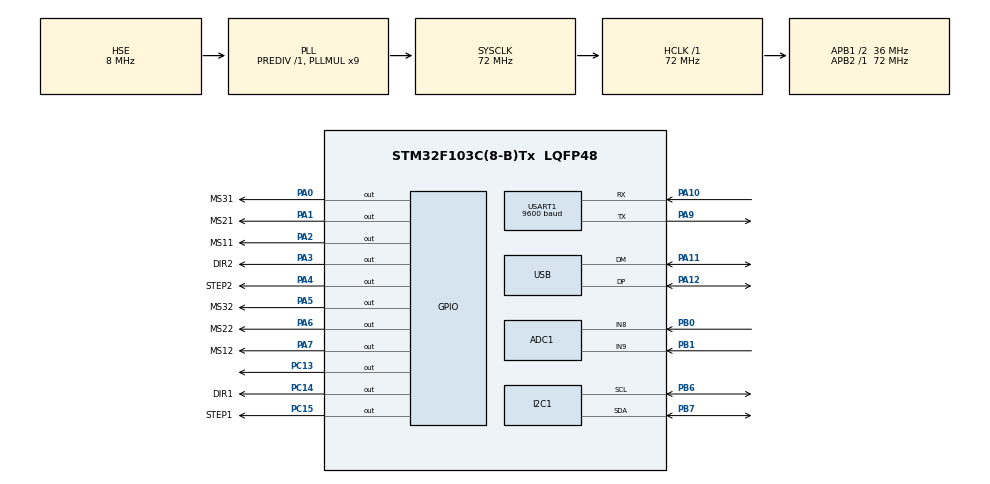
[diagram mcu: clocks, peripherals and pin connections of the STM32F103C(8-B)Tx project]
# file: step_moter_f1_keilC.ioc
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ADC1.Channel-3\#ChannelRegularConversion=ADC_CHANNEL_9
ADC1.Channel-4\#ChannelRegularConversion=ADC_CHANNEL_8
ADC1.ContinuousConvMode=ENABLE
ADC1.NbrOfConversion=2
ADC1.NbrOfConversionFlag=1
ADC1.Rank-3\#ChannelRegularConversion=1
ADC1.Rank-4\#ChannelRegularConversion=2
ADC1.SamplingTime-3\#ChannelRegularConversion=ADC_SAMPLETIME_239CYCLES_5
ADC1.SamplingTime-4\#ChannelRegularConversion=ADC_SAMPLETIME_239CYCLES_5
ADC1.master=1
Dma.ADC1.0.Direction=DMA_PERIPH_TO_MEMORY
Dma.ADC1.0.Instance=DMA1_Channel1
Dma.ADC1.0.MemDataAlignment=DMA_MDATAALIGN_WORD
Dma.ADC1.0.MemInc=DMA_MINC_ENABLE
Dma.ADC1.0.Mode=DMA_CIRCULAR
Dma.ADC1.0.PeriphDataAlignment=DMA_PDATAALIGN_WORD
Dma.ADC1.0.PeriphInc=DMA_PINC_DISABLE
Dma.ADC1.0.Priority=DMA_PRIORITY_MEDIUM
Dma.Request0=ADC1
I2C1.I2C_Mode=I2C_Fast
Mcu.Family=STM32F1
Mcu.Name=STM32F103C(8-B)Tx
Mcu.Package=LQFP48
NVIC.DMA1_Channel1_IRQn=true\:0\:0\:false\:false\:true\:false\:true
NVIC.PriorityGroup=NVIC_PRIORITYGROUP_4
NVIC.TIM1_UP_IRQn=true\:0\:0\:false\:false\:true\:true\:true
NVIC.USART1_IRQn=true\:0\:0\:false\:false\:true\:true\:true
NVIC.USB_LP_CAN1_RX0_IRQn=true\:0\:0\:false\:false\:true\:false\:true
PA0-WKUP.GPIO_Label=MS31
PA0-WKUP.Signal=GPIO_Output
PA1.GPIO_Label=MS21
PA1.Signal=GPIO_Output
PA10.Mode=Asynchronous
PA10.Signal=USART1_RX
PA11.Mode=Device
PA11.Signal=USB_DM
PA12.Mode=Device
PA12.Signal=USB_DP
PA13.Mode=Serial_Wire
PA13.Signal=SYS_JTMS-SWDIO
PA14.Mode=Serial_Wire
PA14.Signal=SYS_JTCK-SWCLK
PA2.GPIO_Label=MS11
PA2.Signal=GPIO_Output
PA3.GPIO_Label=DIR2
PA3.Signal=GPIO_Output
PA4.GPIO_Label=STEP2
PA4.Signal=GPIO_Output
PA5.GPIO_Label=MS32
PA5.Signal=GPIO_Output
PA6.GPIO_Label=MS22
PA6.Signal=GPIO_Output
PA7.GPIO_Label=MS12
PA7.Signal=GPIO_Output
PA9.Mode=Asynchronous
PA9.Signal=USART1_TX
PB0.Signal=ADCx_IN8
PB1.Signal=ADCx_IN9
PB6.Mode=I2C
PB6.Signal=I2C1_SCL
PB7.Mode=I2C
PB7.Signal=I2C1_SDA
PC13-TAMPER-RTC.Signal=GPIO_Output
PC14-OSC32_IN.GPIO_Label=DIR1
PC14-OSC32_IN.Signal=GPIO_Output
PC15-OSC32_OUT.GPIO_Label=STEP1
PC15-OSC32_OUT.Signal=GPIO_Output
PD0-OSC_IN.Mode=HSE-External-Oscillator
PD0-OSC_IN.Signal=RCC_OSC_IN
PD1-OSC_OUT.Mode=HSE-External-Oscillator
PD1-OSC_OUT.Signal=RCC_OSC_OUT
ProjectManager.HeapSize=0x200
ProjectManager.StackSize=0x400
ProjectManager.TargetToolchain=MDK-ARM V5.27
RCC.ADCPresc=RCC_ADCPCLK2_DIV6
RCC.AHBFreq_Value=72000000
RCC.APB1CLKDivider=RCC_HCLK_DIV2
RCC.APB1Freq_Value=36000000
RCC.APB1TimFreq_Value=72000000
RCC.APB2Freq_Value=72000000
RCC.APB2TimFreq_Value=72000000
RCC.HCLKFreq_Value=72000000
RCC.PLLMUL=RCC_PLL_MUL9
RCC.PLLSourceVirtual=RCC_PLLSOURCE_HSE
RCC.SYSCLKFreq_VALUE=72000000
RCC.SYSCLKSource=RCC_SYSCLKSOURCE_PLLCLK
RCC.USBFreq_Value=48000000
RCC.USBPrescaler=RCC_USBCLKSOURCE_PLL_DIV1_5
SH.ADCx_IN8.0=ADC1_IN8,IN8
SH.ADCx_IN9.0=ADC1_IN9,IN9
TIM1.Period=71
TIM1.Prescaler=19
USART1.BaudRate=9600
USART1.VirtualMode=VM_ASYNC
USB_DEVICE.CLASS_NAME_FS=CDC
USB_DEVICE.VirtualMode=Cdc
USB_DEVICE.VirtualModeFS=Cdc_FS
VP_TIM1_VS_ClockSourceINT.Mode=Internal
VP_USB_DEVICE_VS_USB_DEVICE_CDC_FS.Mode=CDC_FS
board=custom

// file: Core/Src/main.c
/* USER CODE BEGIN Header */
/**
  ******************************************************************************
  * @file           : main.c
  * @brief          : Main program body
  ******************************************************************************
  * @attention
  *
  * <h2><center>&copy; Copyright (c) 2021 STMicroelectronics.
  * All rights reserved.</center></h2>
  *
  * This software component is licensed by ST under Ultimate Liberty license
  * SLA0044, the "License"; You may not use this file except in compliance with
  * the License. You may obtain a copy of the License at:
  *                             www.st.com/SLA0044
  *
  ******************************************************************************
  */
/* USER CODE END Header */
#include "main.h"
#include "usb_device.h"

/* USER CODE BEGIN Includes */
#include <stdio.h>
#include "mpu6050.h"
#include "usbd_cdc_if.h"
#include "PID.h"
/* USER CODE END Includes */

/* USER CODE BEGIN PD */
//#define timeLoop 27
#define maxTargetSpeed 200
#define turningSpeed 50
#define setPoint -1
/* USER CODE END PD */

ADC_HandleTypeDef hadc1;
DMA_HandleTypeDef hdma_adc1;

I2C_HandleTypeDef hi2c1;

TIM_HandleTypeDef htim1;

UART_HandleTypeDef huart1;

/* USER CODE BEGIN PV */
MPU6050_t MPU6050;
uint8_t rxData;
uint8_t timeLoop=23;
char buf[40];
volatile float isetPoint=-1;
float iAngle,self_balance_Angle=0;
extern float pidOut;
volatile float pidLeft,pidRight;
uint32_t value[2];
float timeDelayLeft,timeDelayMemoryLeft;
float timeDelayRight,timeDelayMemoryRight;
uint16_t timeDelayCounterLeft,timeDelayCounterRight;
PidParameter PID={1,7.5,200.0,0.125};
uint32_t loop_time;
float voltage;
extern uint32_t timer;
/* USER CODE END PV */

void SystemClock_Config(void);
static void MX_GPIO_Init(void);
static void MX_DMA_Init(void);
static void MX_I2C1_Init(void);
static void MX_USART1_UART_Init(void);
static void MX_TIM1_Init(void);
static void MX_ADC1_Init(void);

/* USER CODE BEGIN 0 */
void HAL_TIM_PeriodElapsedCallback(TIM_HandleTypeDef * htim)
{
	if (htim -> Instance == htim1.Instance)
	{
		//Left motor
    timeDelayCounterLeft++;
    if (timeDelayCounterLeft > timeDelayMemoryLeft)
		{
      timeDelayCounterLeft = 0;
      timeDelayMemoryLeft = timeDelayLeft;
      if (timeDelayMemoryLeft < 0)
			{
        HAL_GPIO_WritePin(DIR2_GPIO_Port, DIR2_Pin, GPIO_PIN_SET);
        timeDelayMemoryLeft *= -1;
      }
			else
			{
        HAL_GPIO_WritePin(DIR2_GPIO_Port, DIR2_Pin, GPIO_PIN_RESET);
      }
    }
		else if (timeDelayCounterLeft == 1)
		{
      HAL_GPIO_WritePin(STEP2_GPIO_Port, STEP2_Pin, GPIO_PIN_SET);
    }
		else if (timeDelayCounterLeft == 2)
		{
      HAL_GPIO_WritePin(STEP2_GPIO_Port, STEP2_Pin, GPIO_PIN_RESET);
    }
		//Right motor
		timeDelayCounterRight++;
    if (timeDelayCounterRight > timeDelayMemoryRight)
		{
      timeDelayCounterRight = 0;
      timeDelayMemoryRight = timeDelayRight;
      if (timeDelayMemoryRight < 0)
			{
        HAL_GPIO_WritePin(DIR1_GPIO_Port, DIR1_Pin, GPIO_PIN_RESET);
        timeDelayMemoryRight *= -1;
      }
			else
			{
        HAL_GPIO_WritePin(DIR1_GPIO_Port, DIR1_Pin, GPIO_PIN_SET);
      }
    }
		else if (timeDelayCounterRight == 1)
		{
      HAL_GPIO_WritePin(STEP1_GPIO_Port, STEP1_Pin, GPIO_PIN_SET);
    }
		else if (timeDelayCounterRight == 2)
		{
      HAL_GPIO_WritePin(STEP1_GPIO_Port, STEP1_Pin, GPIO_PIN_RESET);
    }
  }
}
float mapfloat(float x, float in_min, float in_max, float out_min, float out_max)
{
  return (x - in_min) * (out_max - out_min) / (in_max - in_min) + out_min;
}
void HAL_UART_RxCpltCallback(UART_HandleTypeDef *huart)
{
	if(huart->Instance==huart1.Instance)
	{
		switch(rxData)
		{
			case 'L':
				pidLeft+=turningSpeed;
			  pidRight-=turningSpeed;
				break;
			case 'R':
				pidLeft-=turningSpeed;
			  pidRight+=turningSpeed;
				break;
			case 'F':
				if(isetPoint>-2.5-setPoint) isetPoint-=0.5;
			  if(pidOut>-maxTargetSpeed) isetPoint-=0.05;
				break;
			case 'B':
				if(isetPoint<2.5+setPoint) isetPoint+=0.5;
			  if(pidOut<maxTargetSpeed) isetPoint+=0.05;
				break;
			case '0':
				if(isetPoint > 1+setPoint)isetPoint -=0.2;
			  else if(isetPoint < -1-setPoint)isetPoint +=0.2;
				else isetPoint = setPoint;
				break;
		}
	}
}
/* USER CODE END 0 */

int main(void)
{

  /* MCU Configuration--------------------------------------------------------*/

  /* Reset of all peripherals, Initializes the Flash interface and the Systick. */
  HAL_Init();

  /* Configure the system clock */
  SystemClock_Config();

  /* Initialize all configured peripherals */
  MX_GPIO_Init();
  MX_DMA_Init();
  MX_I2C1_Init();
  MX_USART1_UART_Init();
  MX_TIM1_Init();
  MX_USB_DEVICE_Init();
  MX_ADC1_Init();
  /* USER CODE BEGIN 2 */
  HAL_ADC_Start_DMA(&hadc1, value, 2);
	//HAL_UART_Receive_IT(&huart1,&rxData,1);
	voltage=mapfloat(value[1],0,4095,0,21.29);
		while(voltage<6.5)
		{
			timeDelayLeft=0;
			timeDelayRight=0;
			sprintf (buf, "%f\n", voltage);
			voltage=mapfloat(value[1],0,4095,0,21.29);
			HAL_GPIO_TogglePin(GPIOC,GPIO_PIN_13);
	    HAL_UART_Transmit(&huart1,(uint8_t*)buf,strlen((const char*) buf),100);
		}
  HAL_TIM_Base_Start_IT(&htim1);
	for(int i=0;i<2;i++)
	{
		HAL_GPIO_TogglePin(GPIOC,GPIO_PIN_13);
		HAL_Delay(250);
	}
	while(MPU6050_Init(&hi2c1)==1){};
  for(int i=0;i<100;i++){MPU6050_CommentaryFilter(&hi2c1,&MPU6050);}
  if(MPU6050.CompAngleX>0.01 ||MPU6050.CompAngleX<-0.01) HAL_GPIO_WritePin(GPIOC, GPIO_PIN_13, GPIO_PIN_SET);
	//set MS motor
	HAL_GPIO_WritePin(MS21_GPIO_Port,MS21_Pin,GPIO_PIN_SET);
	HAL_GPIO_WritePin(MS21_GPIO_Port,MS22_Pin,GPIO_PIN_SET);
	loop_time=HAL_GetTick()+timeLoop;
  /* USER CODE END 2 */

  /* Infinite loop */
  while (1)
  {

    /* USER CODE BEGIN 3 */
		voltage=mapfloat(value[1],0,4095,0,21.29);
		if(voltage<10)
		{
			timeDelayLeft=0;
			timeDelayRight=0;
			HAL_GPIO_TogglePin(GPIOC,GPIO_PIN_13);
		  sprintf (buf, "%f\n", voltage);
   	  HAL_UART_Transmit(&huart1,(uint8_t*)buf,strlen((const char*) buf),100);
			break;
		}
		MPU6050_CommentaryFilter(&hi2c1, &MPU6050);
		//timeLoop=(uint8_t)mapfloat(value[0],0,4095,0,40);
		//PID.Kp=mapfloat(value[0],0,4095,0.0,25);
    //PID.Ki=mapfloat(value[0],0,4095,0.0,200);
		//PID.Kd=mapfloat(value[0],0,4095,0.0,0.3);
		PidCaculate(PID, (float)MPU6050.CompAngleX, isetPoint+self_balance_Angle);
		pidLeft=pidOut;
		pidRight=pidOut;
		HAL_UART_Receive_IT(&huart1,&rxData,1);
		if(isetPoint==setPoint)
		{
			if(pidOut<0) self_balance_Angle+=0.0015;
			else if(pidOut>0) self_balance_Angle -=0.0015;
		}
		//Left
		if(pidLeft > 0)pidLeft = 405 - (1/(pidLeft + 9)) * 5500;
		else if(pidLeft < 0)pidLeft = -405 - (1/(pidLeft - 9)) * 5500;
		if(pidLeft > 0)pidLeft = 400 - pidLeft;
		else if(pidLeft < 0)pidLeft = -400 - pidLeft;
		else pidLeft = 0;
		//Right
		if(pidRight > 0)pidRight = 405 - (1/(pidRight + 9)) * 5500;
		else if(pidRight < 0)pidRight = -405 - (1/(pidRight - 9)) * 5500;
		if(pidRight > 0)pidRight = 400 - pidRight;
		else if(pidRight < 0)pidRight = -400 - pidRight;
		else pidRight = 0;
		timeDelayLeft=pidLeft;
		timeDelayRight=pidRight;
		sprintf (buf, "%.3f,%.3f\n",voltage,MPU6050.CompAngleX);
	  HAL_UART_Transmit(&huart1,(uint8_t*)buf,strlen((const char*) buf),100);
		//CDC_Transmit_FS((uint8_t*)buf, strlen((const char*)buf));
		while(loop_time>HAL_GetTick());
		loop_time+=timeLoop;
  }
  /* USER CODE END 3 */
}

void SystemClock_Config(void)
{
  RCC_OscInitTypeDef RCC_OscInitStruct = {0};
  RCC_ClkInitTypeDef RCC_ClkInitStruct = {0};
  RCC_PeriphCLKInitTypeDef PeriphClkInit = {0};

  /** Initializes the RCC Oscillators according to the specified parameters
  * in the RCC_OscInitTypeDef structure.
  */
  RCC_OscInitStruct.OscillatorType = RCC_OSCILLATORTYPE_HSE;
  RCC_OscInitStruct.HSEState = RCC_HSE_ON;
  RCC_OscInitStruct.HSEPredivValue = RCC_HSE_PREDIV_DIV1;
  RCC_OscInitStruct.HSIState = RCC_HSI_ON;
  RCC_OscInitStruct.PLL.PLLState = RCC_PLL_ON;
  RCC_OscInitStruct.PLL.PLLSource = RCC_PLLSOURCE_HSE;
  RCC_OscInitStruct.PLL.PLLMUL = RCC_PLL_MUL9;
  if (HAL_RCC_OscConfig(&RCC_OscInitStruct) != HAL_OK)
  {
    Error_Handler();
  }
  /** Initializes the CPU, AHB and APB buses clocks
  */
  RCC_ClkInitStruct.ClockType = RCC_CLOCKTYPE_HCLK|RCC_CLOCKTYPE_SYSCLK
                              |RCC_CLOCKTYPE_PCLK1|RCC_CLOCKTYPE_PCLK2;
  RCC_ClkInitStruct.SYSCLKSource = RCC_SYSCLKSOURCE_PLLCLK;
  RCC_ClkInitStruct.AHBCLKDivider = RCC_SYSCLK_DIV1;
  RCC_ClkInitStruct.APB1CLKDivider = RCC_HCLK_DIV2;
  RCC_ClkInitStruct.APB2CLKDivider = RCC_HCLK_DIV1;

  if (HAL_RCC_ClockConfig(&RCC_ClkInitStruct, FLASH_LATENCY_2) != HAL_OK)
  {
    Error_Handler();
  }
  PeriphClkInit.PeriphClockSelection = RCC_PERIPHCLK_ADC|RCC_PERIPHCLK_USB;
  PeriphClkInit.AdcClockSelection = RCC_ADCPCLK2_DIV6;
  PeriphClkInit.UsbClockSelection = RCC_USBCLKSOURCE_PLL_DIV1_5;
  if (HAL_RCCEx_PeriphCLKConfig(&PeriphClkInit) != HAL_OK)
  {
    Error_Handler();
  }
}

static void MX_ADC1_Init(void)
{

  ADC_ChannelConfTypeDef sConfig = {0};

  /** Common config
  */
  hadc1.Instance = ADC1;
  hadc1.Init.ScanConvMode = ADC_SCAN_ENABLE;
  hadc1.Init.ContinuousConvMode = ENABLE;
  hadc1.Init.DiscontinuousConvMode = DISABLE;
  hadc1.Init.ExternalTrigConv = ADC_SOFTWARE_START;
  hadc1.Init.DataAlign = ADC_DATAALIGN_RIGHT;
  hadc1.Init.NbrOfConversion = 2;
  if (HAL_ADC_Init(&hadc1) != HAL_OK)
  {
    Error_Handler();
  }
  /** Configure Regular Channel
  */
  sConfig.Channel = ADC_CHANNEL_9;
  sConfig.Rank = ADC_REGULAR_RANK_1;
  sConfig.SamplingTime = ADC_SAMPLETIME_239CYCLES_5;
  if (HAL_ADC_ConfigChannel(&hadc1, &sConfig) != HAL_OK)
  {
    Error_Handler();
  }
  /** Configure Regular Channel
  */
  sConfig.Channel = ADC_CHANNEL_8;
  sConfig.Rank = ADC_REGULAR_RANK_2;
  if (HAL_ADC_ConfigChannel(&hadc1, &sConfig) != HAL_OK)
  {
    Error_Handler();
  }

}

static void MX_I2C1_Init(void)
{

  hi2c1.Instance = I2C1;
  hi2c1.Init.ClockSpeed = 400000;
  hi2c1.Init.DutyCycle = I2C_DUTYCYCLE_2;
  hi2c1.Init.OwnAddress1 = 0;
  hi2c1.Init.AddressingMode = I2C_ADDRESSINGMODE_7BIT;
  hi2c1.Init.DualAddressMode = I2C_DUALADDRESS_DISABLE;
  hi2c1.Init.OwnAddress2 = 0;
  hi2c1.Init.GeneralCallMode = I2C_GENERALCALL_DISABLE;
  hi2c1.Init.NoStretchMode = I2C_NOSTRETCH_DISABLE;
  if (HAL_I2C_Init(&hi2c1) != HAL_OK)
  {
    Error_Handler();
  }

}

static void MX_TIM1_Init(void)
{

  TIM_ClockConfigTypeDef sClockSourceConfig = {0};
  TIM_MasterConfigTypeDef sMasterConfig = {0};

  htim1.Instance = TIM1;
  htim1.Init.Prescaler = 19;
  htim1.Init.CounterMode = TIM_COUNTERMODE_UP;
  htim1.Init.Period = 71;
  htim1.Init.ClockDivision = TIM_CLOCKDIVISION_DIV1;
  htim1.Init.RepetitionCounter = 0;
  htim1.Init.AutoReloadPreload = TIM_AUTORELOAD_PRELOAD_DISABLE;
  if (HAL_TIM_Base_Init(&htim1) != HAL_OK)
  {
    Error_Handler();
  }
  sClockSourceConfig.ClockSource = TIM_CLOCKSOURCE_INTERNAL;
  if (HAL_TIM_ConfigClockSource(&htim1, &sClockSourceConfig) != HAL_OK)
  {
    Error_Handler();
  }
  sMasterConfig.MasterOutputTrigger = TIM_TRGO_RESET;
  sMasterConfig.MasterSlaveMode = TIM_MASTERSLAVEMODE_DISABLE;
  if (HAL_TIMEx_MasterConfigSynchronization(&htim1, &sMasterConfig) != HAL_OK)
  {
    Error_Handler();
  }

}

static void MX_USART1_UART_Init(void)
{

  huart1.Instance = USART1;
  huart1.Init.BaudRate = 115200;
  huart1.Init.WordLength = UART_WORDLENGTH_8B;
  huart1.Init.StopBits = UART_STOPBITS_1;
  huart1.Init.Parity = UART_PARITY_NONE;
  huart1.Init.Mode = UART_MODE_TX_RX;
  huart1.Init.HwFlowCtl = UART_HWCONTROL_NONE;
  huart1.Init.OverSampling = UART_OVERSAMPLING_16;
  if (HAL_UART_Init(&huart1) != HAL_OK)
  {
    Error_Handler();
  }

}

static void MX_DMA_Init(void)
{

  /* DMA controller clock enable */
  __HAL_RCC_DMA1_CLK_ENABLE();

  /* DMA interrupt init */
  /* DMA1_Channel1_IRQn interrupt configuration */
  HAL_NVIC_SetPriority(DMA1_Channel1_IRQn, 0, 0);
  HAL_NVIC_EnableIRQ(DMA1_Channel1_IRQn);

}

static void MX_GPIO_Init(void)
{
  GPIO_InitTypeDef GPIO_InitStruct = {0};

  /* GPIO Ports Clock Enable */
  __HAL_RCC_GPIOC_CLK_ENABLE();
  __HAL_RCC_GPIOD_CLK_ENABLE();
  __HAL_RCC_GPIOA_CLK_ENABLE();
  __HAL_RCC_GPIOB_CLK_ENABLE();

  /*Configure GPIO pin Output Level */
  HAL_GPIO_WritePin(GPIOC, GPIO_PIN_13|DIR1_Pin|STEP1_Pin, GPIO_PIN_RESET);

  /*Configure GPIO pin Output Level */
  HAL_GPIO_WritePin(GPIOA, MS31_Pin|MS21_Pin|MS11_Pin|DIR2_Pin
                          |STEP2_Pin|MS32_Pin|MS22_Pin|MS12_Pin, GPIO_PIN_RESET);

  /*Configure GPIO pins : PC13 DIR1_Pin STEP1_Pin */
  GPIO_InitStruct.Pin = GPIO_PIN_13|DIR1_Pin|STEP1_Pin;
  GPIO_InitStruct.Mode = GPIO_MODE_OUTPUT_PP;
  GPIO_InitStruct.Pull = GPIO_NOPULL;
  GPIO_InitStruct.Speed = GPIO_SPEED_FREQ_LOW;
  HAL_GPIO_Init(GPIOC, &GPIO_InitStruct);

  /*Configure GPIO pins : MS31_Pin MS21_Pin MS11_Pin DIR2_Pin
                           STEP2_Pin MS32_Pin MS22_Pin MS12_Pin */
  GPIO_InitStruct.Pin = MS31_Pin|MS21_Pin|MS11_Pin|DIR2_Pin
                          |STEP2_Pin|MS32_Pin|MS22_Pin|MS12_Pin;
  GPIO_InitStruct.Mode = GPIO_MODE_OUTPUT_PP;
  GPIO_InitStruct.Pull = GPIO_NOPULL;
  GPIO_InitStruct.Speed = GPIO_SPEED_FREQ_LOW;
  HAL_GPIO_Init(GPIOA, &GPIO_InitStruct);

}

void Error_Handler(void)
{
  __disable_irq();
  while (1)
  {
  }
}

/************************ (C) COPYRIGHT STMicroelectronics *****END OF FILE****/
